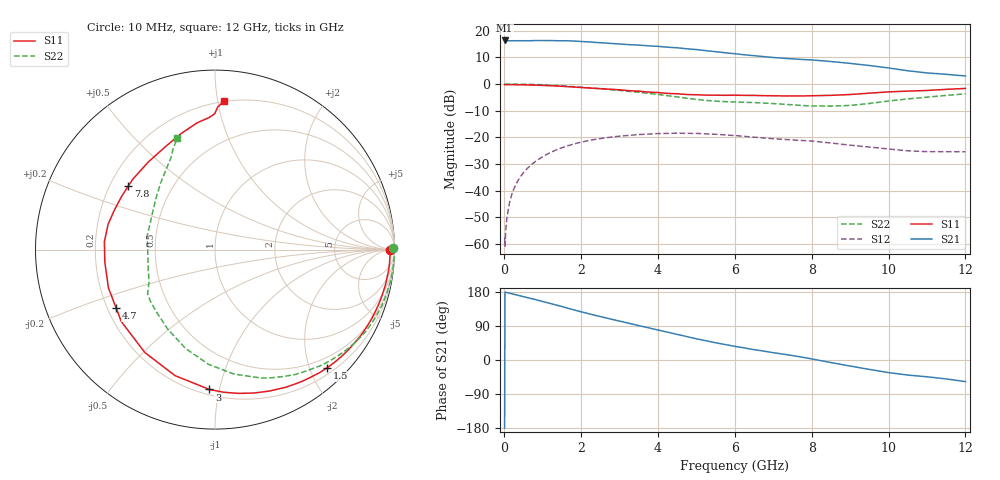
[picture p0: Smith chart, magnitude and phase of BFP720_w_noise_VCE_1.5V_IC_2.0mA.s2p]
! Infineon Technologies  Discrete & RF Semiconductors
! BFP720
! VCE =  1.5 V,  IC =  2.0 mA
! Common Emitter S-Parameters:  Aug 2012
# GHz  S  MA  R  50
!  f  S11  S21  S12  S22
! GHz  MAG  ANG  MAG  ANG  MAG  ANG  MAG  ANG
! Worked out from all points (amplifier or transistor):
!   105 points, 10 MHz to 12 GHz, reference 50 ohm
!   highest |S21| = 16.4 dB at 10 MHz (marker M1)
!   |S21| within 3 dB of that: start of sweep to 4.662 GHz
!   unconditionally stable (mu >= 1): 7.867 GHz to 11.99 GHz
!   at 300 MHz: K = 0.01, MSG = 27.0 dB, |S12| = -37.8 dB
!   at 3.6 GHz: K = 0.30, MSG = 16.7 dB, |S12| = -18.9 dB
!   at 12 GHz: K = 0.99, MSG = 14.2 dB, |S12| = -25.4 dB
!   lowest NFmin = 0.39 dB at 450 MHz
!   S11 on the Smith chart (normalised r, x): 10 MHz: 71, +0; 1.5 GHz: 0.31, -2.29; 3 GHz: 0.23, -0.93; 4.7 GHz: 0.24, -0.26; 7.8 GHz: 0.28, +0.30; 12 GHz: 0.20, +1.04
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0.01  0.9723 0.0  6.592 -179.7  0.0013 -9.3  0.9933 0.4
0.02  0.9762 -0.5  6.42 179.2  0.0009 79.2  0.9996 -0.4
0.06  0.9756 -1.7  6.5 178.2  0.0026 90.0  0.9984 -1.4
0.14  0.9754 -4.1  6.513 176.3  0.006 87.3  0.9986 -3.2
0.4  0.9698 -11.7  6.534 169.7  0.0172 81.8  0.9938 -9.3
1  0.9436 -30.2  6.569 154.5  0.0431 68.8  0.9684 -23.7
1.5  0.9081 -46.5  6.49 141.1  0.0635 57.0  0.9264 -36.0
1.8  0.8803 -56.4  6.429 132.7  0.0744 49.8  0.894 -43.3
2.1  0.8522 -65.8  6.244 124.7  0.0837 42.8  0.8594 -50.3
2.6  0.8118 -80.7  5.919 112.1  0.0969 32.0  0.8044 -61.5
3  0.7799 -92.3  5.662 102.6  0.1051 23.9  0.7612 -70.1
3.5  0.7365 -107.6  5.396 90.7  0.1126 14.1  0.7018 -81.3
4.1  0.6814 -127.8  5.033 76.9  0.1178 2.9  0.6243 -95.7
4.7  0.64 -149.3  4.637 63.0  0.1189 -7.9  0.5468 -111.9
5  0.6309 -160.2  4.448 55.9  0.1183 -13.3  0.5154 -120.7
5.5  0.6178 -173.5  4.06 45.4  0.114 -21.2  0.4777 -132.8
6.1  0.6155 173.9  3.643 34.3  0.1062 -29.0  0.4581 -142.5
7.8  0.5988 143.8  2.884 6.5  0.0866 -43.1  0.3942 -160.0
8.5  0.6134 127.4  2.653 -6.7  0.0781 -48.9  0.385 168.5
9.5  0.6739 106.2  2.231 -24.8  0.0655 -51.3  0.4318 140.2
10.5  0.7369 92.5  1.777 -39.7  0.0557 -49.6  0.5262 120.9
12  0.8269 86.6  1.418 -57.0  0.0534 -43.8  0.6551 108.6
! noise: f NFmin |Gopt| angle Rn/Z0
0.45  0.39  0.68  5  0.26
1.8  0.53  0.62  29  0.21
2.4  0.62  0.52  76  0.19
5.5  0.87  0.39  86  0.14
10  1.32  0.47  -108  0.22
